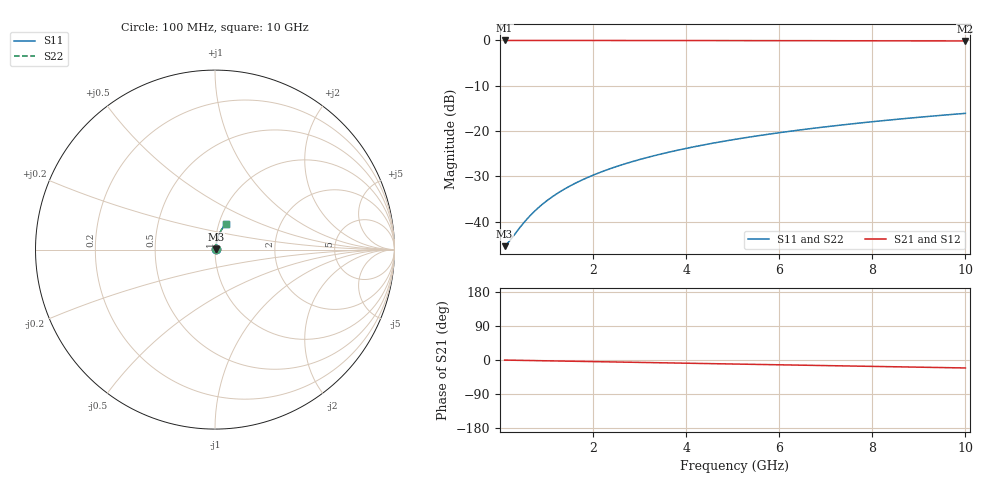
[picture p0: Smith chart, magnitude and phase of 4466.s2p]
# Hz S RI R 50.00
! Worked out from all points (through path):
!   100 points, 100 MHz to 10 GHz, reference 50 ohm
!   highest |S21| = -0.04 dB at 100 MHz (marker M1); lowest = -0.2 dB at 10 GHz (marker M2)
!   group delay of S21, straight-line fit = 5.84 ps
!   lowest |S11| = -45.4 dB at 100 MHz (marker M3), VSWR 1.01, Z = 50.5 + j0.161 ohm
!   |S11| at or under -10 dB: start of sweep to end of sweep
!   |S22| runs from -45.4 to -16.1 dB; largest |S21 - S12| = 0
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1e8  0.00515 0.00159  0.9948 -0.00367  0.9948 -0.00367  0.00515 0.00159
2e8  0.0052 0.00319  0.9948 -0.00734  0.9948 -0.00734  0.0052 0.00319
4e8  0.00532 0.00637  0.9946 -0.0147  0.9946 -0.0147  0.00532 0.00637
5e8  0.00539 0.00796  0.9945 -0.0183  0.9945 -0.0183  0.00539 0.00796
6e8  0.00547 0.00955  0.9944 -0.022  0.9944 -0.022  0.00547 0.00955
7e8  0.00556 0.0111  0.9943 -0.0257  0.9943 -0.0257  0.00556 0.0111
9e8  0.00577 0.0143  0.994 -0.033  0.994 -0.033  0.00577 0.0143
1.1e9  0.00602 0.0175  0.9937 -0.0403  0.9937 -0.0403  0.00602 0.0175
1.3e9  0.00632 0.0207  0.9933 -0.0477  0.9933 -0.0477  0.00632 0.0207
1.5e9  0.00667 0.0238  0.9928 -0.055  0.9928 -0.055  0.00667 0.0238
1.8e9  0.00727 0.0286  0.992 -0.0659  0.992 -0.0659  0.00727 0.0286
2.1e9  0.00797 0.0333  0.991 -0.0769  0.991 -0.0769  0.00797 0.0333
2.5e9  0.00907 0.0395  0.9895 -0.0915  0.9895 -0.0915  0.00907 0.0395
2.9e9  0.0104 0.0458  0.9878 -0.106  0.9878 -0.106  0.0104 0.0458
3.4e9  0.0122 0.0535  0.9852 -0.1241  0.9852 -0.1241  0.0122 0.0535
4.2e9  0.0158 0.0657  0.9803 -0.153  0.9803 -0.153  0.0158 0.0657
5.1e9  0.0206 0.0791  0.9737 -0.1851  0.9737 -0.1851  0.0206 0.0791
5.9e9  0.0256 0.0907  0.9667 -0.2133  0.9667 -0.2133  0.0256 0.0907
6.7e9  0.0313 0.102  0.9588 -0.2413  0.9588 -0.2413  0.0313 0.102
7.5e9  0.0377 0.1129  0.9499 -0.2688  0.9499 -0.2688  0.0377 0.1129
8.4e9  0.0455 0.1247  0.9389 -0.2993  0.9389 -0.2993  0.0455 0.1247
1e10  0.0613 0.1441  0.9166 -0.3522  0.9166 -0.3522  0.0613 0.1441
